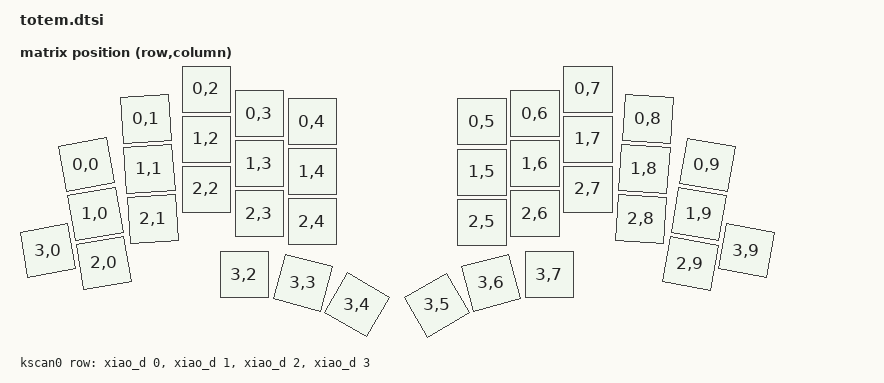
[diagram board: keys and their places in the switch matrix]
/*
* Copyright (c) 2022 The ZMK Contributors
*
* SPDX-License-Identifier: MIT
*/

#include <dt-bindings/zmk/matrix_transform.h>
#include <physical_layouts.dtsi>

/ {
    chosen {
        zmk,kscan = &kscan0;
        zmk,physical-layout = &default_layout;
    };

    default_transform: keymap_transform_0 {
        compatible = "zmk,matrix-transform";
        columns = <10>;
        rows = <4>;
//             | SW01  | SW02  | SW03  | SW04  | SW05  |  | SW05  | SW04  | SW03  | SW02  | SW01  |
//             | SW06  | SW07  | SW08  | SW09  | SW10  |  | SW10  | SW09  | SW08  | SW07  | SW06  | 
//      | SW16 | SW11  | SW12  | SW13  | SW14  | SW15  |  | SW15  | SW14  | SW13  | SW12  | SW11  | SW16  |
//                             | SW17  | SW18  | SW19  |  | SW19  | SW18  | SW17  | 
        map = <
                RC(0,0) RC(0,1) RC(0,2) RC(0,3) RC(0,4)    RC(0,5) RC(0,6) RC(0,7) RC(0,8) RC(0,9)
                RC(1,0) RC(1,1) RC(1,2) RC(1,3) RC(1,4)    RC(1,5) RC(1,6) RC(1,7) RC(1,8) RC(1,9)
        RC(3,0) RC(2,0) RC(2,1) RC(2,2) RC(2,3) RC(2,4)    RC(2,5) RC(2,6) RC(2,7) RC(2,8) RC(2,9) RC(3,9)
                                RC(3,2) RC(3,3) RC(3,4)    RC(3,5) RC(3,6) RC(3,7)         
        >;
    };
 
    default_layout: default_layout {
        compatible = "zmk,physical-layout";
        display-name = "TOTEM";
        transform = <&default_transform>;
        kscan = <&kscan0>;

        keys  //                     w   h    x    y     rot   rx   ry
            = <&key_physical_attrs 105 100   77  151 (-1000)  130  201>
            , <&key_physical_attrs 105 100  196   60  (-400)  249  110>
            , <&key_physical_attrs 105 100  317    0       0    0    0>
            , <&key_physical_attrs 105 100  423   49       0    0    0>
            , <&key_physical_attrs 105 100  529   65       0    0    0>
            , <&key_physical_attrs 105 100  868   65       0    0    0>
            , <&key_physical_attrs 105 100  974   49       0    0    0>
            , <&key_physical_attrs 105 100 1080    0       0    0    0>
            , <&key_physical_attrs 105 100 1200   60     400 1253  110>
            , <&key_physical_attrs 105 100 1319  152    1000 1372  202>
            , <&key_physical_attrs 105 100   95  250 (-1000)  147  300>
            , <&key_physical_attrs 105 100  203  160  (-400)  256  210>
            , <&key_physical_attrs 105 100  317  100       0    0    0>
            , <&key_physical_attrs 105 100  423  149       0    0    0>
            , <&key_physical_attrs 105 100  529  165       0    0    0>
            , <&key_physical_attrs 105 100  868  166       0    0    0>
            , <&key_physical_attrs 105 100  974  149       0    0    0>
            , <&key_physical_attrs 105 100 1080  100       0    0    0>
            , <&key_physical_attrs 105 100 1193  160     400 1246  210>
            , <&key_physical_attrs 105 100 1302  250    1000 1355  300>
            , <&key_physical_attrs 105 100    0  323 (-1000)   52  373>
            , <&key_physical_attrs 105 100  112  348 (-1000)  165  398>
            , <&key_physical_attrs 105 100  210  260  (-400)  263  310>
            , <&key_physical_attrs 105 100  317  200       0    0    0>
            , <&key_physical_attrs 105 100  423  249       0    0    0>
            , <&key_physical_attrs 105 100  529  265       0    0    0>
            , <&key_physical_attrs 105 100  868  266       0    0    0>
            , <&key_physical_attrs 105 100  974  249       0    0    0>
            , <&key_physical_attrs 105 100 1080  200       0    0    0>
            , <&key_physical_attrs 105 100 1186  260     400 1239  310>
            , <&key_physical_attrs 105 100 1285  349    1000 1338  399>
            , <&key_physical_attrs 105 100 1397  323    1000 1450  373>
            , <&key_physical_attrs 105 100  393  371       0    0    0>
            , <&key_physical_attrs 105 100  511  387    1500  563  437>
            , <&key_physical_attrs 105 100  619  432    3000  672  482>
            , <&key_physical_attrs 105 100  778  432 (-3000)  831  482>
            , <&key_physical_attrs 105 100  886  387 (-1500)  939  437>
            , <&key_physical_attrs 105 100 1003  371       0    0    0>
            ;
    };
 
    kscan0: kscan_0 {
        compatible = "zmk,kscan-gpio-matrix";
        label = "KSCAN";
        
        diode-direction = "col2row"; 
        row-gpios
            = <&xiao_d 0 (GPIO_ACTIVE_HIGH | GPIO_PULL_DOWN)>
            , <&xiao_d 1 (GPIO_ACTIVE_HIGH | GPIO_PULL_DOWN)>
            , <&xiao_d 2 (GPIO_ACTIVE_HIGH | GPIO_PULL_DOWN)>
            , <&xiao_d 3 (GPIO_ACTIVE_HIGH | GPIO_PULL_DOWN)>
            ;
    };
 };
